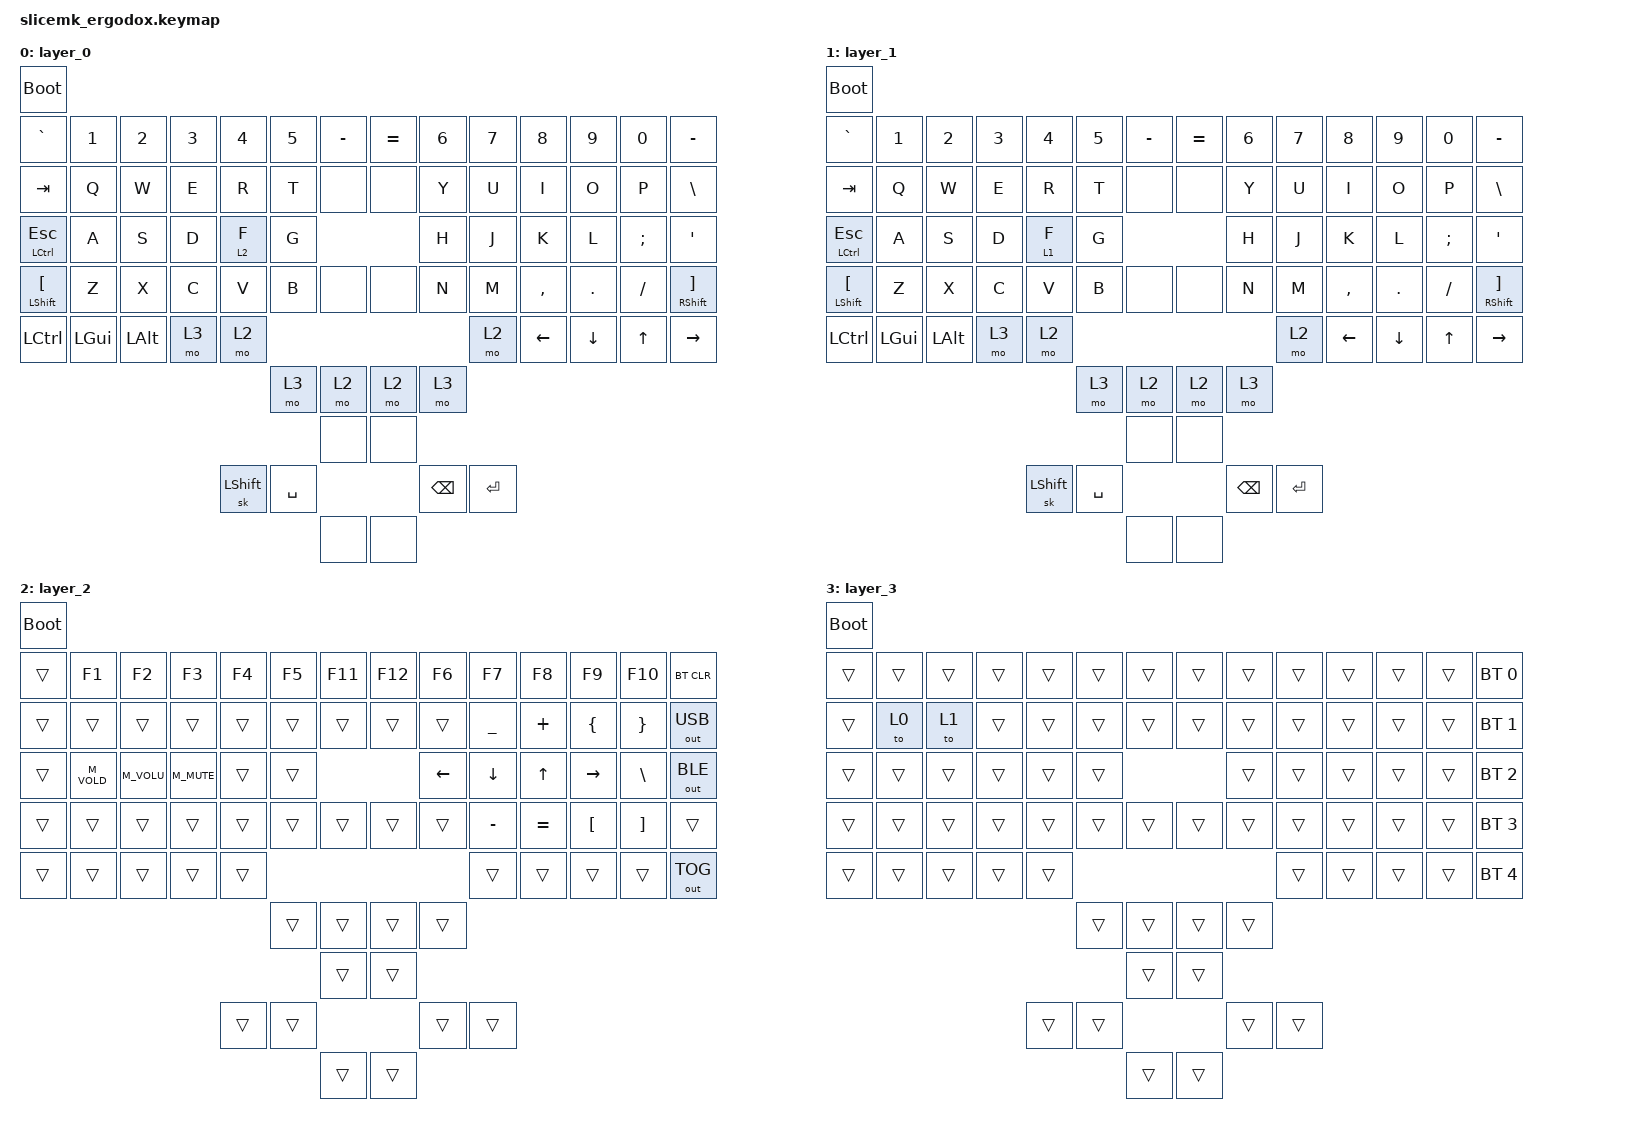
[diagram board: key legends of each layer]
#include <behaviors.dtsi>
#include <dt-bindings/zmk/bt.h>
#include <dt-bindings/zmk/keys.h>
#include <dt-bindings/zmk/outputs.h>

/ {
        keymap {
                compatible = "zmk,keymap";

                layer_0 {
                        bindings = <
    &bootloader
    &kp GRAV       &kp N1     &kp N2     &kp N3     &kp N4     &kp N5     &kp MINUS  &kp EQUAL  &kp N6     &kp N7     &kp N8     &kp N9     &kp N0     &kp MINUS
    &kp TAB        &kp Q      &kp W      &kp E      &kp R      &kp T      &none      &none      &kp Y      &kp U      &kp I      &kp O      &kp P      &kp BSLH
    &mt LCTRL ESC  &kp A      &kp S      &kp D      &lt 2 F    &kp G                            &kp H      &kp J      &kp K      &kp L      &kp SEMI   &kp SQT
    &mt LSHFT LBKT &kp Z      &kp X      &kp C      &kp V      &kp B      &none      &none      &kp N      &kp M      &kp COMMA  &kp PERIOD &kp SLASH  &mt RSHFT RBKT
    &kp LCTRL      &kp LGUI   &kp LALT   &mo 3      &mo 2                                                  &mo 2      &kp LEFT   &kp DOWN   &kp UP     &kp RIGHT
                                                               &mo 3      &mo 2      &mo 2      &mo 3
                                                                          &none      &none
                                                    &sk LSHFT  &kp SPACE                        &kp BKSP   &kp ENTER
                                                                          &none      &none
                        >;
                };

                layer_1 {
                        bindings = <
    &bootloader
    &kp GRAV       &kp N1     &kp N2     &kp N3     &kp N4     &kp N5     &kp MINUS  &kp EQUAL  &kp N6     &kp N7     &kp N8     &kp N9     &kp N0     &kp MINUS
    &kp TAB        &kp Q      &kp W      &kp E      &kp R      &kp T      &none      &none      &kp Y      &kp U      &kp I      &kp O      &kp P      &kp BSLH
    &mt LCTRL ESC  &kp A      &kp S      &kp D      &lt 1 F    &kp G                            &kp H      &kp J      &kp K      &kp L      &kp SEMI   &kp SQT
    &mt LSHFT LBKT &kp Z      &kp X      &kp C      &kp V      &kp B      &none      &none      &kp N      &kp M      &kp COMMA  &kp PERIOD &kp SLASH  &mt RSHFT RBKT
    &kp LCTRL      &kp LGUI   &kp LALT   &mo 3      &mo 2                                                  &mo 2      &kp LEFT   &kp DOWN   &kp UP     &kp RIGHT
                                                               &mo 3      &mo 2      &mo 2      &mo 3
                                                                          &none      &none
                                                    &sk LSHFT  &kp SPACE                        &kp BKSP   &kp ENTER
                                                                          &none      &none
                        >;
                };

                layer_2 {
                        bindings = <
    &bootloader
    &trans     &kp F1     &kp F2     &kp F3     &kp F4     &kp F5     &kp F11    &kp F12    &kp F6     &kp F7     &kp F8     &kp F9     &kp F10    &bt BT_CLR
    &trans     &trans     &trans     &trans     &trans     &trans     &trans     &trans     &trans     &kp UNDER  &kp PLUS   &kp LBRC   &kp RBRC   &out OUT_USB
    &trans     &kp M_VOLD &kp M_VOLU &kp M_MUTE &trans     &trans                           &kp LEFT   &kp DOWN   &kp UP     &kp RIGHT  &kp BSLH   &out OUT_BLE
    &trans     &trans     &trans     &trans     &trans     &trans     &trans     &trans     &trans     &kp MINUS  &kp EQUAL  &kp LBKT   &kp RBKT   &trans
    &trans     &trans     &trans     &trans     &trans                                                 &trans     &trans     &trans     &trans     &out OUT_TOG
                                                           &trans     &trans     &trans     &trans
                                                                      &trans     &trans
                                                &trans     &trans                           &trans     &trans
                                                                      &trans     &trans
                        >;
                };

                layer_3 {
                        bindings = <
    &bootloader
    &trans     &trans     &trans     &trans     &trans     &trans     &trans     &trans     &trans     &trans     &trans     &trans     &trans     &bt BT_SEL 0
    &trans     &to 0      &to 1      &trans     &trans     &trans     &trans     &trans     &trans     &trans     &trans     &trans     &trans     &bt BT_SEL 1
    &trans     &trans     &trans     &trans     &trans     &trans                           &trans     &trans     &trans     &trans     &trans     &bt BT_SEL 2
    &trans     &trans     &trans     &trans     &trans     &trans     &trans     &trans     &trans     &trans     &trans     &trans     &trans     &bt BT_SEL 3
    &trans     &trans     &trans     &trans     &trans                                                 &trans     &trans     &trans     &trans     &bt BT_SEL 4
                                                           &trans     &trans     &trans     &trans
                                                                      &trans     &trans
                                                &trans     &trans                           &trans     &trans
                                                                      &trans     &trans
                        >;
                };

        };
};
